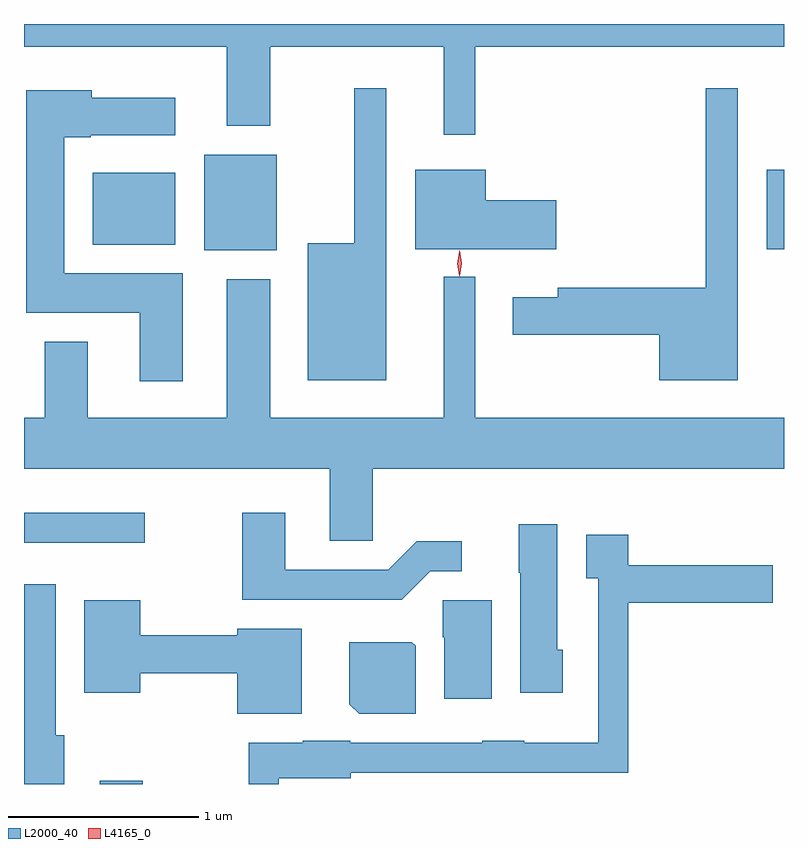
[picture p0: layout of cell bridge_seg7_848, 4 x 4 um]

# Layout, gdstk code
import gdstk
lib = gdstk.Library(unit=1e-6, precision=1e-09)
def R(c, l, rs):  # rectangles x0, y0, x1, y1
    for r in rs: c.add(gdstk.rectangle(r[:2], r[2:], *l))
def P(c, l, *ps):  # polygons
    for p in ps: c.add(gdstk.Polygon(p, *l))
L2000_40 = (2000, 40)
L4165_0 = (4165, 0)

bridge_seg7_848 = lib.new_cell('bridge_seg7_848')
R(bridge_seg7_848, L2000_40, [(377.371,1690.457,377.599,1690.474), (376.973,1691.726,377.608,1691.884), (377.921,1693.266,378.304,1693.769), (380.881,1693.271,380.973,1693.689), (377.336,1693.296,377.769,1693.674)])
P(bridge_seg7_848, L2000_40, [(379.349,1694.336),(380.973,1694.336),(380.973,1694.457),(376.973,1694.457),(376.973,1694.336),(378.041,1694.336),(378.041,1693.921),(378.269,1693.921),(378.269,1694.336),(379.181,1694.336),(379.181,1693.873),(379.349,1693.873)],
  [(378.879,1694.118),(378.711,1694.118),(378.711,1693.304),(378.466,1693.304),(378.466,1692.581),(378.879,1692.581)],
  [(380.729,1694.118),(380.561,1694.118),(380.561,1693.069),(379.781,1693.069),(379.781,1693.019),(379.546,1693.019),(379.546,1692.821),(380.316,1692.821),(380.316,1692.581),(380.729,1692.581)],
  [(377.809,1693.144),(377.184,1693.144),(377.184,1693.861),(377.325,1693.861),(377.325,1693.871),(377.769,1693.871),(377.769,1694.069),(377.329,1694.069),(377.329,1694.109),(376.986,1694.109),(376.986,1692.936),(377.581,1692.936),(377.581,1692.576),(377.809,1692.576)],
  [(379.774,1693.529),(379.404,1693.529),(379.404,1693.689),(379.031,1693.689),(379.031,1693.271),(379.774,1693.271)],
  [(378.809,1692.116),(380.973,1692.116),(380.973,1692.384),(379.349,1692.384),(379.349,1693.128),(379.181,1693.128),(379.181,1692.384),(378.269,1692.384),(378.269,1693.114),(378.041,1693.114),(378.041,1692.384),(377.309,1692.384),(377.309,1692.784),(377.081,1692.784),(377.081,1692.384),(376.973,1692.384),(376.973,1692.116),(378.581,1692.116),(378.581,1691.736),(378.809,1691.736)],
  [(379.112,1691.576),(379.278,1691.576),(379.278,1691.734),(379.039,1691.734),(378.889,1691.584),(378.349,1691.584),(378.349,1691.884),(378.121,1691.884),(378.121,1691.426),(378.962,1691.426)],
  [(379.809,1691.164),(379.779,1691.164),(379.779,1691.824),(379.576,1691.824),(379.576,1691.57),(379.586,1691.57),(379.586,1690.936),(379.809,1690.936)],
  [(378.314,1690.486),(378.694,1690.486),(378.694,1690.516),(380.154,1690.516),(380.154,1691.411),(380.914,1691.411),(380.914,1691.609),(380.154,1691.609),(380.154,1691.769),(379.931,1691.769),(379.931,1691.541),(379.996,1691.541),(379.996,1690.674),(379.605,1690.674),(379.605,1690.684),(379.385,1690.684),(379.385,1690.674),(378.69,1690.674),(378.69,1690.684),(378.44,1690.684),(378.44,1690.674),(378.156,1690.674),(378.156,1690.457),(378.314,1690.457)],
  [(377.184,1690.714),(377.139,1690.714),(377.139,1691.509),(376.973,1691.509),(376.973,1690.457),(377.184,1690.457)],
  [(378.434,1691.274),(378.096,1691.274),(378.096,1691.239),(377.584,1691.239),(377.584,1691.424),(377.291,1691.424),(377.291,1690.936),(377.584,1690.936),(377.584,1691.041),(378.096,1691.041),(378.096,1690.826),(378.434,1690.826)],
  [(379.434,1691.424),(379.176,1691.424),(379.176,1691.23),(379.186,1691.23),(379.186,1690.906),(379.434,1690.906)],
  [(379.034,1691.184),(379.014,1691.204),(378.686,1691.204),(378.686,1690.877),(378.737,1690.826),(379.034,1690.826)])
P(bridge_seg7_848, L4165_0, [(379.266,1693.13),(379.256,1693.198),(379.266,1693.265),(379.266,1693.266),(379.267,1693.265),(379.276,1693.198),(379.267,1693.13),(379.267,1693.13)],
  [(379.264,1693.133),(379.264,1693.134),(379.254,1693.196),(379.263,1693.259),(379.263,1693.26),(379.264,1693.259),(379.273,1693.196),(379.264,1693.134)])

lib.write_gds('bridge_seg7_848.gds')
